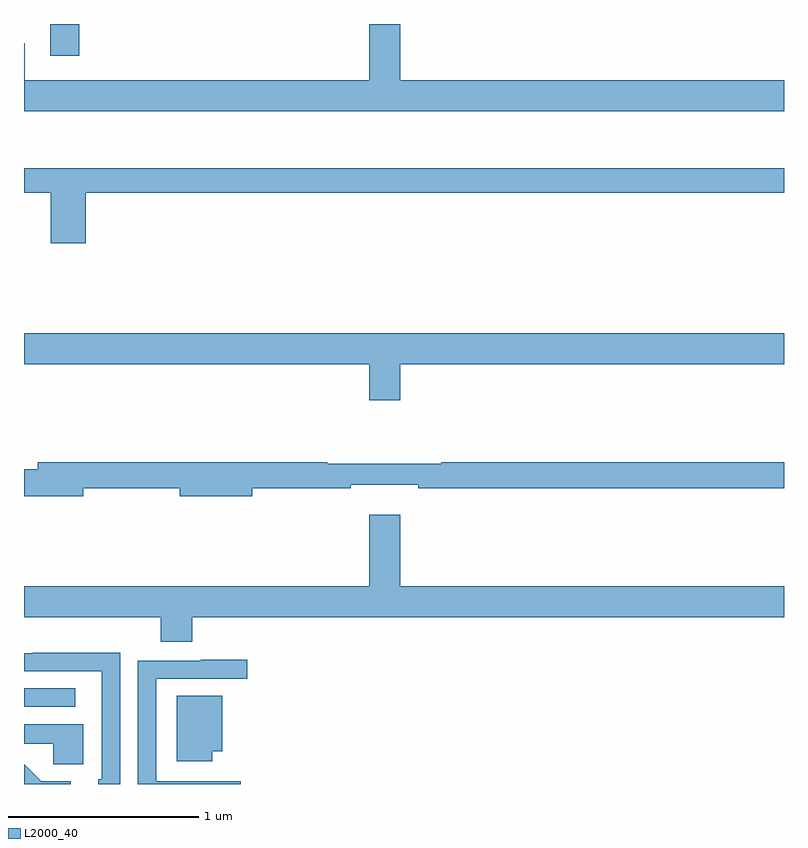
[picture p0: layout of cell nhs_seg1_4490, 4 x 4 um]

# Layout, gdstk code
import gdstk
lib = gdstk.Library(unit=1e-6, precision=1e-09)
def R(c, l, rs):  # rectangles x0, y0, x1, y1
    for r in rs: c.add(gdstk.rectangle(r[:2], r[2:], *l))
def P(c, l, *ps):  # polygons
    for p in ps: c.add(gdstk.Polygon(p, *l))
L2000_40 = (2000, 40)

nhs_seg1_4490 = lib.new_cell('nhs_seg1_4490')
R(nhs_seg1_4490, L2000_40, [(355,540.606,355.27,540.702), (355.139,544.032,355.292,544.199)])
P(nhs_seg1_4490, L2000_40, [(359,543.904),(356.98,543.904),(356.98,544.199),(356.816,544.199),(356.816,543.904),(355.003,543.904),(355.003,544.099),(355,544.099),(355,543.74),(359,543.74)],
  [(355.325,543.31),(359,543.31),(359,543.439),(355,543.439),(355,543.31),(355.142,543.31),(355.142,543.045),(355.325,543.045)],
  [(356.98,542.408),(359,542.408),(359,542.572),(355,542.572),(355,542.408),(356.816,542.408),(356.816,542.22),(356.98,542.22)],
  [(355.312,541.756),(355.82,541.756),(355.82,541.714),(356.2,541.714),(356.2,541.756),(356.72,541.756),(356.72,541.775),(357.076,541.775),(357.076,541.756),(359,541.756),(359,541.892),(357.196,541.892),(357.196,541.885),(356.596,541.885),(356.596,541.892),(355.073,541.892),(355.073,541.856),(355,541.856),(355,541.714),(355.312,541.714)],
  [(355.886,541.076),(359,541.076),(359,541.24),(356.98,541.24),(356.98,541.615),(356.816,541.615),(356.816,541.24),(355,541.24),(355,541.076),(355.721,541.076),(355.721,540.948),(355.886,540.948)],
  [(355.506,540.89),(355.045,540.89),(355.045,540.888),(355,540.888),(355,540.792),(355.409,540.792),(355.409,540.538),(355.41,540.538),(355.41,540.225),(355.391,540.225),(355.391,540.199),(355.506,540.199)],
  [(356.14,540.213),(355.695,540.213),(355.695,540.753),(356.176,540.753),(356.176,540.853),(355.931,540.853),(355.931,540.849),(355.599,540.849),(355.599,540.199),(356.14,540.199)],
  [(355.991,540.371),(356.044,540.371),(356.044,540.664),(355.805,540.664),(355.805,540.32),(355.991,540.32)],
  [(355.312,540.514),(355,540.514),(355,540.41),(355.154,540.41),(355.154,540.302),(355.312,540.302)],
  [(355.246,540.213),(355.09,540.213),(355,540.303),(355,540.199),(355.246,540.199)])

lib.write_gds('nhs_seg1_4490.gds')
